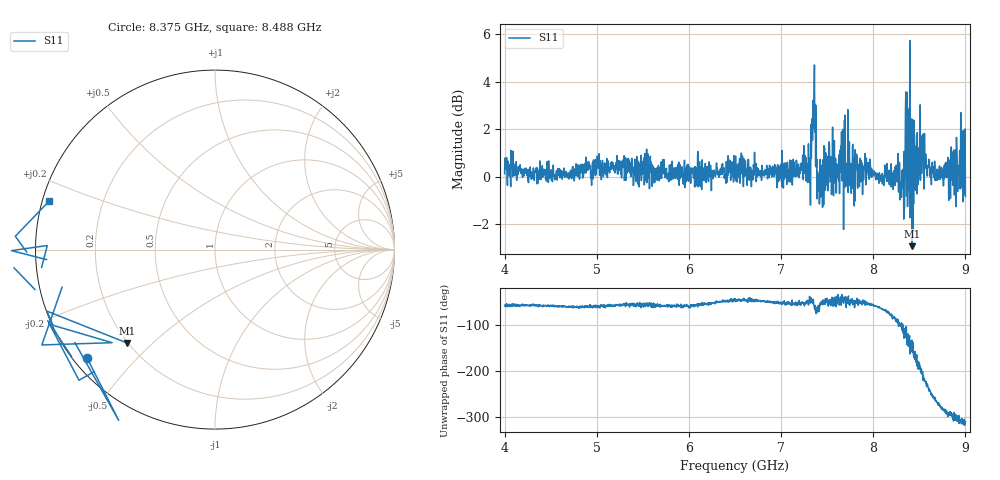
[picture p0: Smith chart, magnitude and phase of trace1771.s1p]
! Created with skrf 1.8.0 (http://scikit-rf.org).
# Hz S RI R 50.0
!freq ReS11 ImS11
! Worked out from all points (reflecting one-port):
!   1601 points, 4 GHz to 9 GHz, reference 50 ohm
!   lowest |S11| = -2.9 dB at 8.422 GHz (marker M1), VSWR 6.02, Z = 9.8 - j20.9 ohm
!   phase of S11 starts at -58 deg and turns -253 deg over the sweep
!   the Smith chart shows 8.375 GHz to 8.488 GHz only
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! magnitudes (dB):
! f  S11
! 4 GHz  0.1
! 4.625 GHz  -0.1
! 5.25 GHz  0.3
! 5.875 GHz  0.2
! 6.5 GHz  0.4
! 7.125 GHz  0.0
! 7.244 GHz  0.7
! 7.297 GHz  1.4
! 7.356 GHz  2.9
! 7.4 GHz  -0.2
! 7.416 GHz  -1.1
! 7.503 GHz  0.9
! 7.609 GHz  0.2
! 7.669 GHz  1.3
! 7.75 GHz  -0.3
! 8.262 GHz  -0.2
! 8.316 GHz  0.3
! 8.328 GHz  0.3
! 8.375 GHz  -0.6
! 8.422 GHz  -2.9
! 8.447 GHz  1.8
! 8.459 GHz  -0.5
! 8.522 GHz  1.5
! 8.575 GHz  0.6
! 8.697 GHz  0.0
! 8.956 GHz  -0.2
! 8.975 GHz  -1.0
! 9 GHz  -0.8
